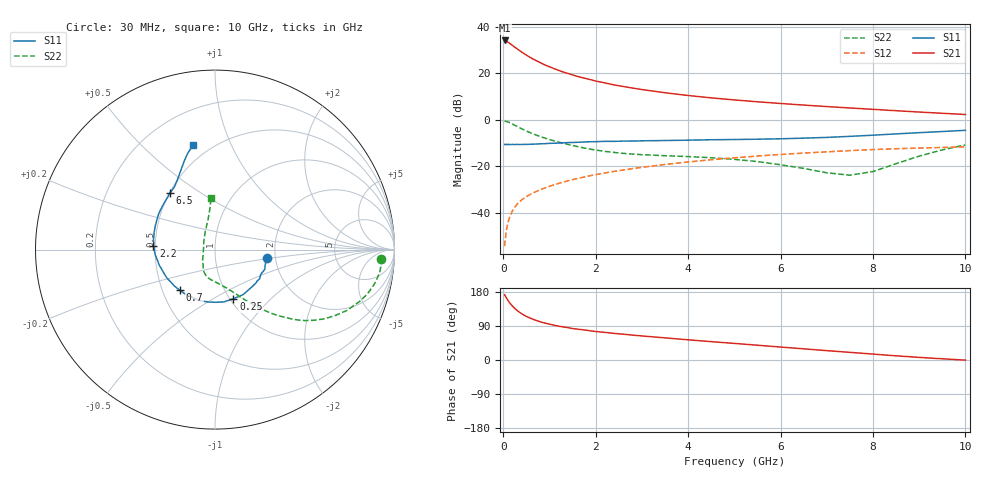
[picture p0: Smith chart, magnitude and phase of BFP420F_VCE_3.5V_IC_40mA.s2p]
! Infineon Technologies  Discrete & RF Semiconductors
! BFP420F
! VCE =  3.5 V,  IC =  40 mA
! Common Emitter S-Parameters:  Sep 2011
# GHz  S  MA  R  50
!  f  S11  S21  S12  S22
! GHz  MAG  ANG  MAG  ANG  MAG  ANG  MAG  ANG
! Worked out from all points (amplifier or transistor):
!   54 points, 30 MHz to 10 GHz, reference 50 ohm
!   highest |S21| = 34.2 dB at 30 MHz (marker M1)
!   |S21| within 3 dB of that: start of sweep to 257.2 MHz
!   unconditionally stable (mu >= 1): 1.411 GHz to end of sweep
!   at 120 MHz: K = 0.40, MSG = 38.2 dB, |S12| = -43.1 dB
!   at 1.3 GHz: K = 0.98, MSG = 23.7 dB, |S12| = -26.8 dB
!   at 10 GHz: K = 1.21, MAG = 4.2 dB, |S12| = -11.7 dB
!   S11 on the Smith chart (normalised r, x): 30 MHz: 1.81, -0.17; 250 MHz: 1.04, -0.62; 700 MHz: 0.61, -0.31; 2.2 GHz: 0.49, +0.02; 6.5 GHz: 0.50, +0.38; 10 GHz: 0.41, +0.73
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0.03  0.2948 -8.6  51.05 172.2  0.0019 88.1  0.9289 -3.1
0.07  0.2985 -21.5  49.12 163.8  0.0043 82.4  0.9206 -9.3
0.1  0.2919 -30.4  47.24 157.8  0.0059 81.5  0.9006 -13.5
0.12  0.2927 -36.7  45.73 154.1  0.007 79.8  0.8842 -16.1
0.15  0.2922 -44.9  43.38 149.3  0.0085 78.3  0.8571 -19.6
0.2  0.2958 -57.7  39.89 142.3  0.011 75.4  0.8102 -24.7
0.25  0.2925 -69.5  36.55 136.1  0.013 73.9  0.7622 -28.9
0.35  0.2936 -89.4  31.1 126.1  0.0171 71.1  0.6765 -35.6
0.45  0.2954 -104.4  26.67 118.4  0.0205 69.5  0.6053 -40.4
0.6  0.2979 -122.0  21.54 109.6  0.0252 68.2  0.5177 -45.7
0.7  0.2998 -130.8  19.07 104.9  0.0282 67.8  0.4743 -48.5
0.9  0.3057 -144.0  15.22 97.6  0.034 67.5  0.4038 -52.8
1.1  0.3128 -154.0  12.64 91.8  0.0398 67.4  0.3515 -56.8
1.3  0.3184 -161.6  10.69 87.3  0.0456 67.2  0.3124 -60.4
1.7  0.3305 -173.0  8.119 80.1  0.0571 66.3  0.2527 -67.6
2.2  0.3433 177.0  6.222 72.9  0.0716 64.7  0.2089 -77.4
3.5  0.3579 158.6  3.821 58.4  0.1092 58.4  0.1684 -98.3
5.5  0.3818 139.1  2.44 39.0  0.1657 46.1  0.126 -121.2
6.5  0.4025 128.3  2.075 29.5  0.1918 39.4  0.0899 -140.3
7  0.4173 122.7  1.926 24.7  0.2042 36.0  0.0722 -156.5
8.5  0.4968 111.6  1.568 11.0  0.2381 25.2  0.1135 118.7
10  0.5931 102.0  1.301 -0.3  0.2615 15.7  0.2886 94.3
